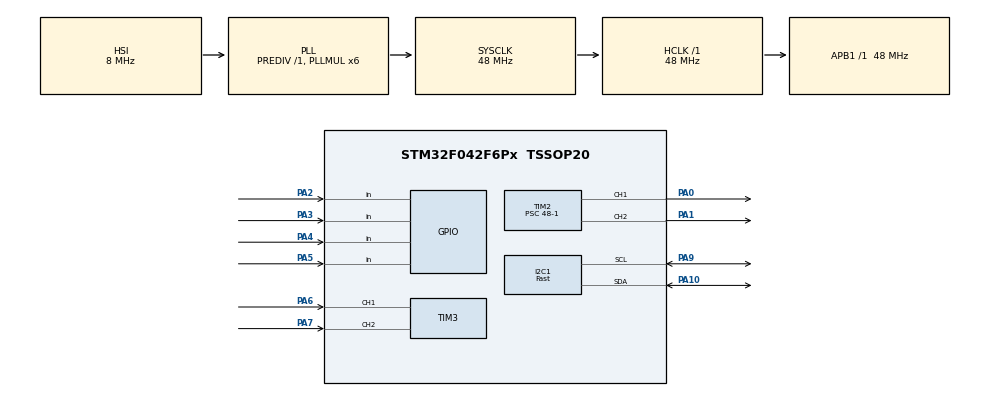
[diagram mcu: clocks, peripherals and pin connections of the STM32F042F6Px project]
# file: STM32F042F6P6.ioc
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I2C1.I2C_Speed_Mode=I2C_Fast
I2C1.Timing=0x0000020B
Mcu.Family=STM32F0
Mcu.Name=STM32F042F6Px
Mcu.Package=TSSOP20
NVIC.TIM17_IRQn=true\:0\:0\:false\:false\:true\:true\:true\:true
PA0.Signal=S_TIM2_CH1_ETR
PA1.Signal=S_TIM2_CH2
PA10.Mode=I2C
PA10.Signal=I2C1_SDA
PA13.Mode=Serial_Wire
PA13.Signal=SYS_SWDIO
PA14.Mode=Serial_Wire
PA14.Signal=SYS_SWCLK
PA2.GPIO_PuPd=GPIO_PULLUP
PA2.Signal=GPIO_Input
PA3.GPIO_PuPd=GPIO_PULLUP
PA3.Signal=GPIO_Input
PA4.GPIO_PuPd=GPIO_PULLUP
PA4.Signal=GPIO_Input
PA5.GPIO_PuPd=GPIO_PULLUP
PA5.Signal=GPIO_Input
PA6.GPIO_PuPd=GPIO_PULLUP
PA6.Signal=S_TIM3_CH1
PA7.GPIO_PuPd=GPIO_PULLUP
PA7.Signal=S_TIM3_CH2
PA9.Mode=I2C
PA9.Signal=I2C1_SCL
ProjectManager.HeapSize=0x200
ProjectManager.StackSize=0x400
ProjectManager.TargetToolchain=MDK-ARM V5.27
RCC.AHBFreq_Value=48000000
RCC.APB1Freq_Value=48000000
RCC.APB1TimFreq_Value=48000000
RCC.HCLKFreq_Value=48000000
RCC.PLLMUL=RCC_PLL_MUL6
RCC.SYSCLKFreq_VALUE=48000000
RCC.SYSCLKSource=RCC_SYSCLKSOURCE_PLLCLK
SH.S_TIM2_CH1_ETR.0=TIM2_CH1,PWM Generation1 CH1
SH.S_TIM2_CH2.0=TIM2_CH2,PWM Generation2 CH2
SH.S_TIM3_CH1.0=TIM3_CH1,Encoder_Interface
SH.S_TIM3_CH2.0=TIM3_CH2,Encoder_Interface
TIM17.Period=10000
TIM17.Prescaler=48-1
TIM2.Channel-PWM\ Generation1\ CH1=TIM_CHANNEL_1
TIM2.Channel-PWM\ Generation2\ CH2=TIM_CHANNEL_2
TIM2.Period=1000-1
TIM2.Prescaler=48-1
TIM3.EncoderMode=TIM_ENCODERMODE_TI12
VP_TIM17_VS_ClockSourceINT.Mode=Enable_Timer
board=custom

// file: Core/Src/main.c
/* USER CODE BEGIN Header */
/**
  ******************************************************************************
  * @file           : main.c
  * @brief          : Main program body
  ******************************************************************************
  * @attention
  *
  * Copyright (c) 2022 STMicroelectronics.
  * All rights reserved.
  *
  * This software is licensed under terms that can be found in the LICENSE file
  * in the root directory of this software component.
  * If no LICENSE file comes with this software, it is provided AS-IS.
  *
  ******************************************************************************
  */
/* USER CODE END Header */
#include "main.h"
#include "i2c.h"
#include "tim.h"
#include "gpio.h"

/* USER CODE BEGIN Includes */

#include <stdio.h>
#include "pos_pid.h"
#include "oled_096.h"

/* USER CODE END Includes */

/* USER CODE BEGIN PV */

uint8_t mode = 0;
uint16_t target = 200;
uint16_t speed = 700;
uint8_t done = 1;

/* USER CODE END PV */

void SystemClock_Config(void);

/* USER CODE BEGIN 0 */

#define PA0_SET	GPIOA->BSRR = GPIO_PIN_0
#define PA0_CLR	GPIOA->BRR = GPIO_PIN_0

/*int fputc(int ch, FILE *f) {
    HAL_UART_Transmit(&huart2, (uint8_t*)&ch, 1, 10);
    return (ch);
}*/

void HAL_TIM_PeriodElapsedCallback(TIM_HandleTypeDef *htim) {
    int16_t count = (int16_t)htim3.Instance->CNT;
    int16_t out = pos_pid_update(count);
    if(out == 0) {
        htim2.Instance->CCR1 = 0;
        htim2.Instance->CCR2 = 0;
		HAL_TIM_Base_Stop_IT(&htim17);
		done = 1;
    } else {
        htim2.Instance->CCR1 = 1000 - out;
        htim2.Instance->CCR2 = 1000;
    }
    //printf("%d %d\r\n", count, out);
}

uint8_t read_key() {
    uint8_t ret = 0;
    if((GPIOA->IDR & GPIO_PIN_4) == 0) {
        ret |= 1;
    }
    if((GPIOA->IDR & GPIO_PIN_3) == 0) {
        ret |= 2;
    }
    if((GPIOA->IDR & GPIO_PIN_2) == 0) {
        ret |= 4;
    }
    if((GPIOA->IDR & GPIO_PIN_5) == 0) {
        ret |= 8;
    }
    return ret;
}

void show_target() {
	static char buf[16];
	sprintf(buf, "target: %4d", target);
	oled_paint_string(&hi2c1, 16, 4, buf);
}

void show_speed() {
	static char buf[16];
	sprintf(buf, " speed: %4d", speed);
	oled_paint_string(&hi2c1, 16, 4, buf);
}

void show_mode_info() {
    if(mode == 0) {
        oled_paint_hz(&hi2c1, 32 + 0, 2, 0);
        oled_paint_hz(&hi2c1, 32 + 16, 2, 1);
        oled_paint_hz(&hi2c1, 32 + 32, 2, 2);
        oled_paint_hz(&hi2c1, 32 + 48, 2, 3);
        show_target();
    } else if (mode == 1) {
        oled_paint_hz(&hi2c1, 32 + 0, 2, 4);
        oled_paint_hz(&hi2c1, 32 + 16, 2, 5);
        oled_paint_hz(&hi2c1, 32 + 32, 2, 2);
        oled_paint_hz(&hi2c1, 32 + 48, 2, 3);
        show_speed();
		oled_paint_string(&hi2c1, 72, 6, "     ");
    } else if (mode == 2) {
		oled_paint_hz(&hi2c1, 32 + 0, 2, 6);
        oled_paint_hz(&hi2c1, 32 + 16, 2, 7);
        oled_paint_hz(&hi2c1, 32 + 32, 2, 2);
        oled_paint_hz(&hi2c1, 32 + 48, 2, 3);
        show_speed();
		oled_paint_string(&hi2c1, 72, 6, "     ");
	}
}

void adjust_target_or_speed(uint8_t key) {
	if (mode == 0) {
		if (key == 2) {
			target = target < 2000 ? target + 100 : 2000;
		} else {
			target = target > 100 ? target - 100 : 100;
		}
		show_target();
	} else if (mode == 1 || mode == 2) {
		if (key == 2) {
			speed = speed < 800 ? speed + 50 : 800;
		} else {
			speed = speed > 300 ? speed - 50 : 300;
		}
		show_speed();
	}
}

/* USER CODE END 0 */

int main(void) {

    /* MCU Configuration--------------------------------------------------------*/

    /* Reset of all peripherals, Initializes the Flash interface and the Systick. */
    HAL_Init();

    /* Configure the system clock */
    SystemClock_Config();

    /* Initialize all configured peripherals */
    MX_GPIO_Init();
    MX_I2C1_Init();
    MX_TIM2_Init();
    MX_TIM3_Init();
    MX_TIM17_Init();

    /* Infinite loop */
    /* USER CODE BEGIN WHILE */
    //printf("hello solder paste elf\r\n");

    oled_init(&hi2c1);
    oled_clear(&hi2c1);

    oled_paint_string(&hi2c1, 8, 0, "solder paste v1");

    htim2.Instance->CCR1 = 0;
    htim2.Instance->CCR2 = 0;
    HAL_TIM_PWM_Start(&htim2, TIM_CHANNEL_1);
    HAL_TIM_PWM_Start(&htim2, TIM_CHANNEL_2);

    HAL_TIM_Encoder_Start(&htim3, TIM_CHANNEL_1 | TIM_CHANNEL_2);

    pos_pid_init(1, 0.05, 0.6, 800, 0);
    //pos_pid_set_target(3000);

    //htim2.Instance->CCR1 = 800;
    //htim2.Instance->CCR2 = 1000;

    uint8_t key_flag = 0;
    show_mode_info();
    while(1) {
        //int16_t count = (int16_t)htim3.Instance->CNT;
        //printf("%d\r\n", count);
        //printf("%x %x\r\n", a, b);
        uint8_t key = read_key();
        //oled_paint_char(&hi2c1, 0, 6, '0' + key);
        if(key == 1 && key_flag == 0) {
            key_flag = 10;
            mode = (mode + 1) % 3;
            show_mode_info();
		} else if (key == 2 || key == 4) {
			if (key_flag == 0 || key_flag > 7) {
				adjust_target_or_speed(key);
			}
			key_flag ++;
		} else if (key == 8) {
			if (mode == 0) {
				if (key_flag == 0 && done == 1) {
					key_flag = 10;
					done = 0;
					htim3.Instance->CNT = 0;
					pos_pid_set_target(target);
					HAL_TIM_Base_Start_IT(&htim17);
				}
			} else if (mode == 1) {
				htim2.Instance->CCR1 = 1000 - speed;
				htim2.Instance->CCR2 = 1000;
				while (read_key() == 8) {
					HAL_Delay(10);
				}
				htim2.Instance->CCR1 = 0;
				htim2.Instance->CCR2 = 0;
			} else if (mode == 2) {
				htim2.Instance->CCR1 = 1000;
				htim2.Instance->CCR2 = 1000 - speed;
				while (read_key() == 8) {
					HAL_Delay(10);
				}
				htim2.Instance->CCR1 = 0;
				htim2.Instance->CCR2 = 0;
			}
        } else if(key == 0) {
            key_flag = 0;
        }

		char buf[32];
		if (mode == 0) {
			int16_t count = (int16_t)htim3.Instance->CNT;
			sprintf(buf, "%5d", count);
			oled_paint_string(&hi2c1, 72, 6, buf);
		}

        HAL_Delay(100);
        /* USER CODE END WHILE */

    }
}

void SystemClock_Config(void) {
    RCC_OscInitTypeDef RCC_OscInitStruct = {0};
    RCC_ClkInitTypeDef RCC_ClkInitStruct = {0};
    RCC_PeriphCLKInitTypeDef PeriphClkInit = {0};

    /** Initializes the RCC Oscillators according to the specified parameters
    * in the RCC_OscInitTypeDef structure.
    */
    RCC_OscInitStruct.OscillatorType = RCC_OSCILLATORTYPE_HSI;
    RCC_OscInitStruct.HSIState = RCC_HSI_ON;
    RCC_OscInitStruct.HSICalibrationValue = RCC_HSICALIBRATION_DEFAULT;
    RCC_OscInitStruct.PLL.PLLState = RCC_PLL_ON;
    RCC_OscInitStruct.PLL.PLLSource = RCC_PLLSOURCE_HSI;
    RCC_OscInitStruct.PLL.PLLMUL = RCC_PLL_MUL6;
    RCC_OscInitStruct.PLL.PREDIV = RCC_PREDIV_DIV1;
    if(HAL_RCC_OscConfig(&RCC_OscInitStruct) != HAL_OK) {
        Error_Handler();
    }
    /** Initializes the CPU, AHB and APB buses clocks
    */
    RCC_ClkInitStruct.ClockType = RCC_CLOCKTYPE_HCLK | RCC_CLOCKTYPE_SYSCLK
                                  | RCC_CLOCKTYPE_PCLK1;
    RCC_ClkInitStruct.SYSCLKSource = RCC_SYSCLKSOURCE_PLLCLK;
    RCC_ClkInitStruct.AHBCLKDivider = RCC_SYSCLK_DIV1;
    RCC_ClkInitStruct.APB1CLKDivider = RCC_HCLK_DIV1;

    if(HAL_RCC_ClockConfig(&RCC_ClkInitStruct, FLASH_LATENCY_1) != HAL_OK) {
        Error_Handler();
    }
    PeriphClkInit.PeriphClockSelection = RCC_PERIPHCLK_I2C1;
    PeriphClkInit.I2c1ClockSelection = RCC_I2C1CLKSOURCE_HSI;
    if(HAL_RCCEx_PeriphCLKConfig(&PeriphClkInit) != HAL_OK) {
        Error_Handler();
    }
}

void Error_Handler(void) {
    __disable_irq();
    while(1) {
    }
}
